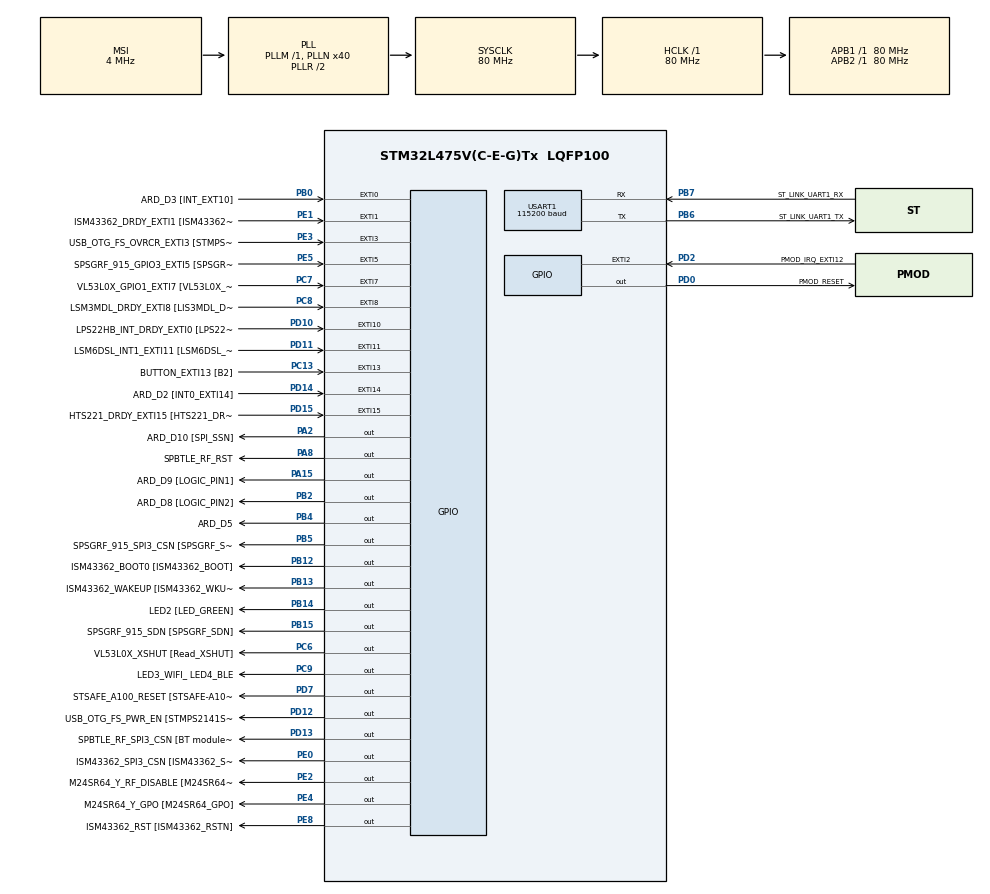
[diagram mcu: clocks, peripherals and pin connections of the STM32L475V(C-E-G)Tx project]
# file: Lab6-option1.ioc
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ADC1.Channel-0\#ChannelRegularConversion=ADC_CHANNEL_TEMPSENSOR
ADC1.ContinuousConvMode=DISABLE
ADC1.DMAContinuousRequests=ENABLE
ADC1.EOCSelection=ADC_EOC_SINGLE_CONV
ADC1.ExternalTrigConv=ADC_EXTERNALTRIG_T1_TRGO
ADC1.ExternalTrigConvEdge=ADC_EXTERNALTRIGCONVEDGE_RISING
ADC1.NbrOfConversionFlag=1
ADC1.OffsetNumber-0\#ChannelRegularConversion=ADC_OFFSET_NONE
ADC1.Rank-0\#ChannelRegularConversion=1
ADC1.SamplingTime-0\#ChannelRegularConversion=ADC_SAMPLETIME_640CYCLES_5
ADC1.master=1
Dma.ADC1.0.Direction=DMA_PERIPH_TO_MEMORY
Dma.ADC1.0.Instance=DMA1_Channel1
Dma.ADC1.0.MemDataAlignment=DMA_MDATAALIGN_HALFWORD
Dma.ADC1.0.MemInc=DMA_MINC_ENABLE
Dma.ADC1.0.Mode=DMA_CIRCULAR
Dma.ADC1.0.PeriphDataAlignment=DMA_PDATAALIGN_HALFWORD
Dma.ADC1.0.PeriphInc=DMA_PINC_DISABLE
Dma.ADC1.0.Priority=DMA_PRIORITY_HIGH
Dma.Request0=ADC1
FREERTOS.BinarySemaphores01=micSem,Dynamic,NULL
FREERTOS.Tasks01=defaultTask,24,512,StartDefaultTask,Default,NULL,Dynamic,NULL,NULL
Mcu.Family=STM32L4
Mcu.Name=STM32L475V(C-E-G)Tx
Mcu.Package=LQFP100
NVIC.ADC1_2_IRQn=true\:5\:0\:false\:false\:true\:true\:true\:true\:true
NVIC.DMA1_Channel1_IRQn=true\:5\:0\:false\:false\:true\:true\:false\:true\:true
NVIC.EXTI15_10_IRQn=true\:5\:0\:false\:false\:true\:true\:true\:true\:true
NVIC.EXTI9_5_IRQn=true\:5\:0\:false\:false\:true\:true\:true\:true\:true
NVIC.PriorityGroup=NVIC_PRIORITYGROUP_4
NVIC.TIM6_DAC_IRQn=true\:5\:0\:false\:false\:true\:false\:false\:true\:true
NVIC.TIM7_IRQn=true\:15\:0\:false\:false\:true\:false\:false\:true\:true
NVIC.TimeBase=TIM7_IRQn
NVIC.TimeBaseIP=TIM7
NVIC.USART1_IRQn=true\:5\:0\:false\:false\:true\:true\:true\:true\:true
PA0.GPIO_Label=ARD_D1 [UART4_TX]
PA0.Signal=UART4_TX
PA1.GPIO_Label=ARD_D0 [UART4_RX]
PA1.Signal=UART4_RX
PA10.GPIO_Label=USB_OTG_FS_ID
PA10.Signal=USB_OTG_FS_ID
PA11.GPIO_Label=USB_OTG_FS_DM
PA11.Signal=USB_OTG_FS_DM
PA12.GPIO_Label=USB_OTG_FS_DP
PA12.Signal=USB_OTG_FS_DP
PA13\ (JTMS-SWDIO).GPIO_Label=SYS_JTMS_SWDIO
PA13\ (JTMS-SWDIO).Mode=Serial_Wire
PA13\ (JTMS-SWDIO).Signal=SYS_JTMS-SWDIO
PA14\ (JTCK-SWCLK).GPIO_Label=SYS_JTCK_SWCLK
PA14\ (JTCK-SWCLK).Mode=Serial_Wire
PA14\ (JTCK-SWCLK).Signal=SYS_JTCK-SWCLK
PA15\ (JTDI).GPIO_Label=ARD_D9 [LOGIC_PIN1]
PA15\ (JTDI).Signal=GPIO_Output
PA2.GPIO_Label=ARD_D10 [SPI_SSN]
PA2.Signal=GPIO_Output
PA3.GPIO_Label=ARD_D4
PA3.Signal=S_TIM2_CH4
PA4.GPIO_Label=ARD_D7
PA4.Signal=ADCx_IN9
PA5.GPIO_Label=ARD_D13 [SPI1_SCK]
PA5.Signal=SPI1_SCK
PA6.GPIO_Label=ARD_D12 [SPI1_MISO]
PA6.Signal=SPI1_MISO
PA7.GPIO_Label=ARD_D11 [SPI1_MOSI]
PA7.Signal=SPI1_MOSI
PA8.GPIO_Label=SPBTLE_RF_RST
PA8.Signal=GPIO_Output
PA9.GPIO_Label=USB_OTG_FS_VBUS [STMPS2141STR_OUT]
PA9.Signal=USB_OTG_FS_VBUS
PB0.GPIO_Label=ARD_D3 [INT_EXT10]
PB0.Signal=GPXTI0
PB1.GPIO_Label=ARD_D6 [ADC1_IN6]
PB1.Signal=ADCx_IN16
PB10.GPIO_Label=INTERNAL_I2C2_SCL [VL53L0X_SCL]
PB10.Signal=I2C2_SCL
PB11.GPIO_Label=INTERNAL_I2C2_SDA [VL53L0X_SDA]
PB11.Signal=I2C2_SDA
PB12.GPIO_Label=ISM43362_BOOT0 [ISM43362_BOOT]
PB12.Signal=GPIO_Output
PB13.GPIO_Label=ISM43362_WAKEUP [ISM43362_WKUP]
PB13.Signal=GPIO_Output
PB14.GPIO_Label=LED2 [LED_GREEN]
PB14.Signal=GPIO_Output
PB15.GPIO_Label=SPSGRF_915_SDN [SPSGRF_SDN]
PB15.Signal=GPIO_Output
PB2.GPIO_Label=ARD_D8 [LOGIC_PIN2]
PB2.Signal=GPIO_Output
PB3\ (JTDO-TRACESWO).GPIO_Label=SYS_JTD0_SWO
PB3\ (JTDO-TRACESWO).Signal=SYS_JTDO-SWO
PB4\ (NJTRST).GPIO_Label=ARD_D5
PB4\ (NJTRST).Signal=GPIO_Output
PB5.GPIO_Label=SPSGRF_915_SPI3_CSN [SPSGRF_SPI_CS]
PB5.PinState=GPIO_PIN_SET
PB5.Signal=GPIO_Output
PB6.GPIO_Label=ST_LINK_UART1_TX
PB6.Mode=Asynchronous
PB6.Signal=USART1_TX
PB7.GPIO_Label=ST_LINK_UART1_RX
PB7.Mode=Asynchronous
PB7.Signal=USART1_RX
PB8.GPIO_Label=ARD_D15 [I2C1_SCL]
PB8.Signal=I2C1_SCL
PB9.GPIO_Label=ARD_D14 [I2C1_SDA]
PB9.Signal=I2C1_SDA
PC0.GPIO_Label=ARD_A5 [ADC]
PC0.Signal=ADCx_IN1
PC1.GPIO_Label=ARD_A4 [ADC]
PC1.Signal=ADCx_IN2
PC10.GPIO_Label=INTERNAL_SPI3_SCK [BT module_SPI_SCLK] [ISM43362_SCK]
PC10.Signal=SPI3_SCK
PC11.GPIO_Label=INTERNAL_SPI3_MISO [BT module_SPI_MISO] [ISM43362_MISO]
PC11.Signal=SPI3_MISO
PC12.GPIO_Label=INTERNAL_SPI3_MOSI [BT module_SPI_MOSI] [ISM43362_MOSI]
PC12.Signal=SPI3_MOSI
PC13.GPIO_Label=BUTTON_EXTI13 [B2]
PC13.GPIO_ModeDefaultEXTI=GPIO_MODE_IT_FALLING
PC13.Signal=GPXTI13
PC14-OSC32_IN\ (PC14).Mode=LSE-External-Oscillator
PC14-OSC32_IN\ (PC14).Signal=RCC_OSC32_IN
PC15-OSC32_OUT\ (PC15).Mode=LSE-External-Oscillator
PC15-OSC32_OUT\ (PC15).Signal=RCC_OSC32_OUT
PC2.GPIO_Label=ARD_A3 [ADC]
PC2.Signal=ADCx_IN3
PC3.GPIO_Label=ARD_A2 [ADC]
PC3.Signal=ADCx_IN4
PC4.GPIO_Label=ARD_A1 [ADC]
PC4.Signal=ADCx_IN13
PC5.GPIO_Label=ARD_A0 [ADC]
PC5.Signal=ADCx_IN14
PC6.GPIO_Label=VL53L0X_XSHUT [Read_XSHUT]
PC6.Signal=GPIO_Output
PC7.GPIO_Label=VL53L0X_GPIO1_EXTI7 [VL53L0X_GPIO1]
PC7.Signal=GPXTI7
PC8.GPIO_Label=LSM3MDL_DRDY_EXTI8 [LIS3MDL_DRDY]
PC8.Signal=GPXTI8
PC9.GPIO_Label=LED3_WIFI_ LED4_BLE
PC9.Signal=GPIO_Output
PD0.GPIO_Label=PMOD_RESET
PD0.Signal=GPIO_Output
PD1.GPIO_Label=PMOD_SPI2_SCK
PD1.Signal=SPI2_SCK
PD10.GPIO_Label=LPS22HB_INT_DRDY_EXTI0 [LPS22HB_INT_DRDY]
PD10.Signal=GPXTI10
PD11.GPIO_Label=LSM6DSL_INT1_EXTI11 [LSM6DSL_INT1]
PD11.Signal=GPXTI11
PD12.GPIO_Label=USB_OTG_FS_PWR_EN [STMPS2141STR_EN]
PD12.Signal=GPIO_Output
PD13.GPIO_Label=SPBTLE_RF_SPI3_CSN [BT module_SPI_CS]
PD13.PinState=GPIO_PIN_SET
PD13.Signal=GPIO_Output
PD14.GPIO_Label=ARD_D2 [INT0_EXTI14]
PD14.Signal=GPXTI14
PD15.GPIO_Label=HTS221_DRDY_EXTI15 [HTS221_DRDY]
PD15.Signal=GPXTI15
PD2.GPIO_Label=PMOD_IRQ_EXTI12
PD2.Signal=GPXTI2
PD3.GPIO_Label=PMOD_UART2_CTS
PD3.Signal=USART2_CTS
PD4.GPIO_Label=PMOD_UART2_RTS
PD4.Signal=USART2_RTS
PD5.GPIO_Label=PMOD_UART2_TX
PD5.Signal=USART2_TX
PD6.GPIO_Label=PMOD_UART2_RX
PD6.Signal=USART2_RX
PD7.GPIO_Label=STSAFE_A100_RESET [STSAFE-A100_RESET]
PD7.Signal=GPIO_Output
PD8.GPIO_Label=INTERNAL_UART3_TX [ISM43362_RX]
PD8.Signal=USART3_TX
PD9.GPIO_Label=INTERNAL_UART3_RX [ISM43362_TX]
PD9.Signal=USART3_RX
PE0.GPIO_Label=ISM43362_SPI3_CSN [ISM43362_SSN]
PE0.PinState=GPIO_PIN_SET
PE0.Signal=GPIO_Output
PE1.GPIO_Label=ISM43362_DRDY_EXTI1 [ISM43362_DATARDY]
PE1.Signal=GPXTI1
PE10.GPIO_Label=QUADSPI_CLK [MX25R6435F_SCLK]
PE10.Signal=QUADSPI_CLK
PE11.GPIO_Label=QUADSPI_NCS [MX25R6435F_SCLK]
PE11.Signal=QUADSPI_NCS
PE12.GPIO_Label=OQUADSPI_BK1_IO0 [MX25R6435F_IO0]
PE12.Signal=QUADSPI_BK1_IO0
PE13.GPIO_Label=QUADSPI_BK1_IO1 [MX25R6435F_IO1]
PE13.Signal=QUADSPI_BK1_IO1
PE14.GPIO_Label=QUAD_SPI_BK1_IO2 [MX25R6435F_IO2]
PE14.Signal=QUADSPI_BK1_IO2
PE15.GPIO_Label=QUAD_SPI_BK1_IO3 [MX25R6435F_IO3]
PE15.Signal=QUADSPI_BK1_IO3
PE2.GPIO_Label=M24SR64_Y_RF_DISABLE [M24SR64_RFDIS]
PE2.Signal=GPIO_Output
PE3.GPIO_Label=USB_OTG_FS_OVRCR_EXTI3 [STMPS2141STR_FAULT]
PE3.Signal=GPXTI3
PE4.GPIO_Label=M24SR64_Y_GPO [M24SR64_GPO]
PE4.Signal=GPIO_Output
PE5.GPIO_Label=SPSGRF_915_GPIO3_EXTI5 [SPSGRF_GPIO_3]
PE5.Signal=GPXTI5
PE7.GPIO_Label=DFSDM1_DATIN2 [MP34DT01_DOUT]
PE7.Signal=S_DATAIN2DFSDM1
PE8.GPIO_Label=ISM43362_RST [ISM43362_RSTN]
PE8.Signal=GPIO_Output
PE9.GPIO_Label=DFSDM1_CKOUT [MP34DT01_CLK]
PE9.Signal=S_CKOUTDFSDM1
PH0-OSC_IN\ (PH0).Mode=HSE-External-Oscillator
PH0-OSC_IN\ (PH0).Signal=RCC_OSC_IN
PH1-OSC_OUT\ (PH1).Mode=HSE-External-Oscillator
PH1-OSC_OUT\ (PH1).Signal=RCC_OSC_OUT
ProjectManager.HeapSize=0x200
ProjectManager.StackSize=0x400
ProjectManager.TargetToolchain=CMake
RCC.ADCFreq_Value=48000000
RCC.AHBFreq_Value=80000000
RCC.APB1Freq_Value=80000000
RCC.APB1TimFreq_Value=80000000
RCC.APB2Freq_Value=80000000
RCC.APB2TimFreq_Value=80000000
RCC.CortexFreq_Value=80000000
RCC.HCLKFreq_Value=80000000
RCC.HSE_VALUE=8000000
RCC.HSI_VALUE=16000000
RCC.MSI_VALUE=4000000
RCC.PLLN=40
RCC.PLLSAI1N=24
RCC.SYSCLKFreq_VALUE=80000000
RCC.SYSCLKSource=RCC_SYSCLKSOURCE_PLLCLK
RCC.USBFreq_Value=48000000
RCC.VCOOutputFreq_Value=160000000
SH.ADCx_IN1.0=ADC1_IN1
SH.ADCx_IN13.0=ADC1_IN13
SH.ADCx_IN14.0=ADC1_IN14
SH.ADCx_IN16.0=ADC1_IN16
SH.ADCx_IN2.0=ADC1_IN2
SH.ADCx_IN3.0=ADC1_IN3
SH.ADCx_IN4.0=ADC1_IN4
SH.ADCx_IN9.0=ADC1_IN9
SH.S_CKOUTDFSDM1.0=DFSDM1_CKOUT
SH.S_DATAIN2DFSDM1.0=DFSDM1_DATIN2
SH.S_TIM2_CH4.0=TIM2_CH4
TIM1.AutoReloadPreload=TIM_AUTORELOAD_PRELOAD_ENABLE
TIM1.Period=10000-1
TIM1.Prescaler=80-1
TIM1.TIM_MasterOutputTrigger=TIM_TRGO_UPDATE
TIM2.Period=1000000-1
TIM2.Prescaler=80-1
TIM2.TIM_MasterOutputTrigger=TIM_TRGO_UPDATE
USART1.BaudRate=115200
USART1.VirtualMode-Asynchronous=VM_ASYNC
VP_ADC1_TempSens_Input.Mode=IN-TempSens
VP_FREERTOS_VS_CMSIS_V2.Mode=CMSIS_V2
VP_SYS_VS_tim7.Mode=TIM7
VP_TIM1_VS_ClockSourceINT.Mode=Internal
VP_TIM2_VS_ClockSourceINT.Mode=Internal
VP_TIM6_VS_ClockSourceINT.Mode=Enable_Timer
board=B-L475E-IOT01A1

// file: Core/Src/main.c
/* USER CODE BEGIN Header */
/**
  ******************************************************************************
  * @file           : main.c
  * @brief          : Main program body
  ******************************************************************************
  * @attention
  *
  * Copyright (c) 2026 STMicroelectronics.
  * All rights reserved.
  *
  * This software is licensed under terms that can be found in the LICENSE file
  * in the root directory of this software component.
  * If no LICENSE file comes with this software, it is provided AS-IS.
  *
  ******************************************************************************
  */
/* USER CODE END Header */
#include "main.h"
#include "cmsis_os.h"

/* USER CODE BEGIN Includes */
#include "latency.h"
/* USER CODE END Includes */

ADC_HandleTypeDef hadc1;
DMA_HandleTypeDef hdma_adc1;

TIM_HandleTypeDef htim1;
TIM_HandleTypeDef htim2;
TIM_HandleTypeDef htim6;

UART_HandleTypeDef huart1;

#define SAMPLE_BUFFER_SIZE    16U
uint16_t sample_buffer[SAMPLE_BUFFER_SIZE];

/* Definitions for defaultTask */
osThreadId_t defaultTaskHandle;
const osThreadAttr_t defaultTask_attributes = {
  .name = "defaultTask",
  .stack_size = 512 * 4,
  .priority = (osPriority_t) osPriorityNormal,
};
/* Definitions for micSem */
osSemaphoreId_t micSemHandle;
const osSemaphoreAttr_t micSem_attributes = {
  .name = "micSem"
};

void SystemClock_Config(void);
static void MX_GPIO_Init(void);
static void MX_DMA_Init(void);
static void MX_ADC1_Init(void);
static void MX_TIM1_Init(void);
static void MX_TIM2_Init(void);
static void MX_USART1_UART_Init(void);
static void MX_TIM6_Init(void);
void StartDefaultTask(void *argument);

int main(void)
{

  /* MCU Configuration--------------------------------------------------------*/

  /* Reset of all peripherals, Initializes the Flash interface and the Systick. */
  HAL_Init();

  /* Configure the system clock */
  SystemClock_Config();

  /* Initialize all configured peripherals */
  MX_GPIO_Init();
  MX_DMA_Init();
  MX_ADC1_Init();
  MX_TIM1_Init();
  MX_TIM2_Init();
  MX_USART1_UART_Init();
  MX_TIM6_Init();

  /* Init scheduler */
  osKernelInitialize();

  /* Create the semaphores(s) */
  /* creation of micSem */
  micSemHandle = osSemaphoreNew(1, 0, &micSem_attributes);

  /* Create the thread(s) */
  /* creation of defaultTask */
  defaultTaskHandle = osThreadNew(StartDefaultTask, NULL, &defaultTask_attributes);

  /* Start scheduler */
  osKernelStart();

  /* We should never get here as control is now taken by the scheduler */

  /* Infinite loop */
  while (1)
  {

  }
}

void SystemClock_Config(void)
{
  RCC_OscInitTypeDef RCC_OscInitStruct = {0};
  RCC_ClkInitTypeDef RCC_ClkInitStruct = {0};

  /** Configure the main internal regulator output voltage
  */
  if (HAL_PWREx_ControlVoltageScaling(PWR_REGULATOR_VOLTAGE_SCALE1) != HAL_OK)
  {
    Error_Handler();
  }

  /** Configure LSE Drive Capability
  */
  HAL_PWR_EnableBkUpAccess();
  __HAL_RCC_LSEDRIVE_CONFIG(RCC_LSEDRIVE_LOW);

  /** Initializes the RCC Oscillators according to the specified parameters
  * in the RCC_OscInitTypeDef structure.
  */
  RCC_OscInitStruct.OscillatorType = RCC_OSCILLATORTYPE_LSE|RCC_OSCILLATORTYPE_MSI;
  RCC_OscInitStruct.LSEState = RCC_LSE_ON;
  RCC_OscInitStruct.MSIState = RCC_MSI_ON;
  RCC_OscInitStruct.MSICalibrationValue = 0;
  RCC_OscInitStruct.MSIClockRange = RCC_MSIRANGE_6;
  RCC_OscInitStruct.PLL.PLLState = RCC_PLL_ON;
  RCC_OscInitStruct.PLL.PLLSource = RCC_PLLSOURCE_MSI;
  RCC_OscInitStruct.PLL.PLLM = 1;
  RCC_OscInitStruct.PLL.PLLN = 40;
  RCC_OscInitStruct.PLL.PLLP = RCC_PLLP_DIV7;
  RCC_OscInitStruct.PLL.PLLQ = RCC_PLLQ_DIV2;
  RCC_OscInitStruct.PLL.PLLR = RCC_PLLR_DIV2;
  if (HAL_RCC_OscConfig(&RCC_OscInitStruct) != HAL_OK)
  {
    Error_Handler();
  }

  /** Initializes the CPU, AHB and APB buses clocks
  */
  RCC_ClkInitStruct.ClockType = RCC_CLOCKTYPE_HCLK|RCC_CLOCKTYPE_SYSCLK
                              |RCC_CLOCKTYPE_PCLK1|RCC_CLOCKTYPE_PCLK2;
  RCC_ClkInitStruct.SYSCLKSource = RCC_SYSCLKSOURCE_PLLCLK;
  RCC_ClkInitStruct.AHBCLKDivider = RCC_SYSCLK_DIV1;
  RCC_ClkInitStruct.APB1CLKDivider = RCC_HCLK_DIV1;
  RCC_ClkInitStruct.APB2CLKDivider = RCC_HCLK_DIV1;

  if (HAL_RCC_ClockConfig(&RCC_ClkInitStruct, FLASH_LATENCY_4) != HAL_OK)
  {
    Error_Handler();
  }

  /** Enable MSI Auto calibration
  */
  HAL_RCCEx_EnableMSIPLLMode();
}

static void MX_ADC1_Init(void)
{

  ADC_MultiModeTypeDef multimode = {0};
  ADC_ChannelConfTypeDef sConfig = {0};

  /** Common config
  */
  hadc1.Instance = ADC1;
  hadc1.Init.ClockPrescaler = ADC_CLOCK_ASYNC_DIV1;
  hadc1.Init.Resolution = ADC_RESOLUTION_12B;
  hadc1.Init.DataAlign = ADC_DATAALIGN_RIGHT;
  hadc1.Init.ScanConvMode = ADC_SCAN_DISABLE;
  hadc1.Init.EOCSelection = ADC_EOC_SINGLE_CONV;
  hadc1.Init.LowPowerAutoWait = DISABLE;
  hadc1.Init.ContinuousConvMode = DISABLE;
  hadc1.Init.NbrOfConversion = 1;
  hadc1.Init.DiscontinuousConvMode = DISABLE;
  hadc1.Init.ExternalTrigConv = ADC_EXTERNALTRIG_T1_TRGO;
  hadc1.Init.ExternalTrigConvEdge = ADC_EXTERNALTRIGCONVEDGE_RISING;
  hadc1.Init.DMAContinuousRequests = ENABLE;
  hadc1.Init.Overrun = ADC_OVR_DATA_PRESERVED;
  hadc1.Init.OversamplingMode = DISABLE;
  if (HAL_ADC_Init(&hadc1) != HAL_OK)
  {
    Error_Handler();
  }

  /** Configure the ADC multi-mode
  */
  multimode.Mode = ADC_MODE_INDEPENDENT;
  if (HAL_ADCEx_MultiModeConfigChannel(&hadc1, &multimode) != HAL_OK)
  {
    Error_Handler();
  }

  /** Configure Regular Channel
  */
  sConfig.Channel = ADC_CHANNEL_TEMPSENSOR;
  sConfig.Rank = ADC_REGULAR_RANK_1;
  sConfig.SamplingTime = ADC_SAMPLETIME_640CYCLES_5;
  sConfig.SingleDiff = ADC_SINGLE_ENDED;
  sConfig.OffsetNumber = ADC_OFFSET_NONE;
  sConfig.Offset = 0;
  if (HAL_ADC_ConfigChannel(&hadc1, &sConfig) != HAL_OK)
  {
    Error_Handler();
  }

}

static void MX_TIM1_Init(void)
{

  TIM_ClockConfigTypeDef sClockSourceConfig = {0};
  TIM_MasterConfigTypeDef sMasterConfig = {0};

  htim1.Instance = TIM1;
  htim1.Init.Prescaler = 80-1;
  htim1.Init.CounterMode = TIM_COUNTERMODE_UP;
  htim1.Init.Period = 10000-1;
  htim1.Init.ClockDivision = TIM_CLOCKDIVISION_DIV1;
  htim1.Init.RepetitionCounter = 0;
  htim1.Init.AutoReloadPreload = TIM_AUTORELOAD_PRELOAD_ENABLE;
  if (HAL_TIM_Base_Init(&htim1) != HAL_OK)
  {
    Error_Handler();
  }
  sClockSourceConfig.ClockSource = TIM_CLOCKSOURCE_INTERNAL;
  if (HAL_TIM_ConfigClockSource(&htim1, &sClockSourceConfig) != HAL_OK)
  {
    Error_Handler();
  }
  sMasterConfig.MasterOutputTrigger = TIM_TRGO_UPDATE;
  sMasterConfig.MasterOutputTrigger2 = TIM_TRGO2_RESET;
  sMasterConfig.MasterSlaveMode = TIM_MASTERSLAVEMODE_DISABLE;
  if (HAL_TIMEx_MasterConfigSynchronization(&htim1, &sMasterConfig) != HAL_OK)
  {
    Error_Handler();
  }

}

static void MX_TIM2_Init(void)
{

  TIM_ClockConfigTypeDef sClockSourceConfig = {0};
  TIM_MasterConfigTypeDef sMasterConfig = {0};

  htim2.Instance = TIM2;
  htim2.Init.Prescaler = 80-1;
  htim2.Init.CounterMode = TIM_COUNTERMODE_UP;
  htim2.Init.Period = 1000000-1;
  htim2.Init.ClockDivision = TIM_CLOCKDIVISION_DIV1;
  htim2.Init.AutoReloadPreload = TIM_AUTORELOAD_PRELOAD_DISABLE;
  if (HAL_TIM_Base_Init(&htim2) != HAL_OK)
  {
    Error_Handler();
  }
  sClockSourceConfig.ClockSource = TIM_CLOCKSOURCE_INTERNAL;
  if (HAL_TIM_ConfigClockSource(&htim2, &sClockSourceConfig) != HAL_OK)
  {
    Error_Handler();
  }
  sMasterConfig.MasterOutputTrigger = TIM_TRGO_UPDATE;
  sMasterConfig.MasterSlaveMode = TIM_MASTERSLAVEMODE_DISABLE;
  if (HAL_TIMEx_MasterConfigSynchronization(&htim2, &sMasterConfig) != HAL_OK)
  {
    Error_Handler();
  }

}

static void MX_TIM6_Init(void)
{

  TIM_MasterConfigTypeDef sMasterConfig = {0};

  htim6.Instance = TIM6;
  htim6.Init.Prescaler = 0;
  htim6.Init.CounterMode = TIM_COUNTERMODE_UP;
  htim6.Init.Period = 65535;
  htim6.Init.AutoReloadPreload = TIM_AUTORELOAD_PRELOAD_DISABLE;
  if (HAL_TIM_Base_Init(&htim6) != HAL_OK)
  {
    Error_Handler();
  }
  sMasterConfig.MasterOutputTrigger = TIM_TRGO_RESET;
  sMasterConfig.MasterSlaveMode = TIM_MASTERSLAVEMODE_DISABLE;
  if (HAL_TIMEx_MasterConfigSynchronization(&htim6, &sMasterConfig) != HAL_OK)
  {
    Error_Handler();
  }

}

static void MX_USART1_UART_Init(void)
{

  huart1.Instance = USART1;
  huart1.Init.BaudRate = 115200;
  huart1.Init.WordLength = UART_WORDLENGTH_8B;
  huart1.Init.StopBits = UART_STOPBITS_1;
  huart1.Init.Parity = UART_PARITY_NONE;
  huart1.Init.Mode = UART_MODE_TX_RX;
  huart1.Init.HwFlowCtl = UART_HWCONTROL_NONE;
  huart1.Init.OverSampling = UART_OVERSAMPLING_16;
  huart1.Init.OneBitSampling = UART_ONE_BIT_SAMPLE_DISABLE;
  huart1.AdvancedInit.AdvFeatureInit = UART_ADVFEATURE_NO_INIT;
  if (HAL_UART_Init(&huart1) != HAL_OK)
  {
    Error_Handler();
  }

}

static void MX_DMA_Init(void)
{

  /* DMA controller clock enable */
  __HAL_RCC_DMA1_CLK_ENABLE();

  /* DMA interrupt init */
  /* DMA1_Channel1_IRQn interrupt configuration */
  HAL_NVIC_SetPriority(DMA1_Channel1_IRQn, 5, 0);
  HAL_NVIC_EnableIRQ(DMA1_Channel1_IRQn);
  /* DMA1_Channel4_IRQn interrupt configuration */
  NVIC_SetPriority(DMA1_Channel4_IRQn, NVIC_EncodePriority(NVIC_GetPriorityGrouping(),5, 0));
  NVIC_EnableIRQ(DMA1_Channel4_IRQn);

}

static void MX_GPIO_Init(void)
{
  GPIO_InitTypeDef GPIO_InitStruct = {0};

  /* GPIO Ports Clock Enable */
  __HAL_RCC_GPIOE_CLK_ENABLE();
  __HAL_RCC_GPIOC_CLK_ENABLE();
  __HAL_RCC_GPIOH_CLK_ENABLE();
  __HAL_RCC_GPIOA_CLK_ENABLE();
  __HAL_RCC_GPIOB_CLK_ENABLE();
  __HAL_RCC_GPIOD_CLK_ENABLE();

  /*Configure GPIO pin Output Level */
  HAL_GPIO_WritePin(GPIOE, M24SR64_Y_RF_DISABLE_Pin|M24SR64_Y_GPO_Pin|ISM43362_RST_Pin, GPIO_PIN_RESET);

  /*Configure GPIO pin Output Level */
  HAL_GPIO_WritePin(GPIOA, ARD_D10_Pin|SPBTLE_RF_RST_Pin|ARD_D9_Pin, GPIO_PIN_RESET);

  /*Configure GPIO pin Output Level */
  HAL_GPIO_WritePin(GPIOB, ARD_D8_Pin|ISM43362_BOOT0_Pin|ISM43362_WAKEUP_Pin|LED2_Pin
                          |SPSGRF_915_SDN_Pin|ARD_D5_Pin, GPIO_PIN_RESET);

  /*Configure GPIO pin Output Level */
  HAL_GPIO_WritePin(GPIOD, USB_OTG_FS_PWR_EN_Pin|PMOD_RESET_Pin|STSAFE_A100_RESET_Pin, GPIO_PIN_RESET);

  /*Configure GPIO pin Output Level */
  HAL_GPIO_WritePin(SPBTLE_RF_SPI3_CSN_GPIO_Port, SPBTLE_RF_SPI3_CSN_Pin, GPIO_PIN_SET);

  /*Configure GPIO pin Output Level */
  HAL_GPIO_WritePin(GPIOC, VL53L0X_XSHUT_Pin|LED3_WIFI__LED4_BLE_Pin, GPIO_PIN_RESET);

  /*Configure GPIO pin Output Level */
  HAL_GPIO_WritePin(SPSGRF_915_SPI3_CSN_GPIO_Port, SPSGRF_915_SPI3_CSN_Pin, GPIO_PIN_SET);

  /*Configure GPIO pin Output Level */
  HAL_GPIO_WritePin(ISM43362_SPI3_CSN_GPIO_Port, ISM43362_SPI3_CSN_Pin, GPIO_PIN_SET);

  /*Configure GPIO pins : M24SR64_Y_RF_DISABLE_Pin M24SR64_Y_GPO_Pin ISM43362_RST_Pin ISM43362_SPI3_CSN_Pin */
  GPIO_InitStruct.Pin = M24SR64_Y_RF_DISABLE_Pin|M24SR64_Y_GPO_Pin|ISM43362_RST_Pin|ISM43362_SPI3_CSN_Pin;
  GPIO_InitStruct.Mode = GPIO_MODE_OUTPUT_PP;
  GPIO_InitStruct.Pull = GPIO_NOPULL;
  GPIO_InitStruct.Speed = GPIO_SPEED_FREQ_LOW;
  HAL_GPIO_Init(GPIOE, &GPIO_InitStruct);

  /*Configure GPIO pins : USB_OTG_FS_OVRCR_EXTI3_Pin SPSGRF_915_GPIO3_EXTI5_Pin ISM43362_DRDY_EXTI1_Pin */
  GPIO_InitStruct.Pin = USB_OTG_FS_OVRCR_EXTI3_Pin|SPSGRF_915_GPIO3_EXTI5_Pin|ISM43362_DRDY_EXTI1_Pin;
  GPIO_InitStruct.Mode = GPIO_MODE_IT_RISING;
  GPIO_InitStruct.Pull = GPIO_NOPULL;
  HAL_GPIO_Init(GPIOE, &GPIO_InitStruct);

  /*Configure GPIO pin : BUTTON_EXTI13_Pin */
  GPIO_InitStruct.Pin = BUTTON_EXTI13_Pin;
  GPIO_InitStruct.Mode = GPIO_MODE_IT_FALLING;
  GPIO_InitStruct.Pull = GPIO_NOPULL;
  HAL_GPIO_Init(BUTTON_EXTI13_GPIO_Port, &GPIO_InitStruct);

  /*Configure GPIO pins : ARD_D1_Pin ARD_D0_Pin */
  GPIO_InitStruct.Pin = ARD_D1_Pin|ARD_D0_Pin;
  GPIO_InitStruct.Mode = GPIO_MODE_AF_PP;
  GPIO_InitStruct.Pull = GPIO_NOPULL;
  GPIO_InitStruct.Speed = GPIO_SPEED_FREQ_VERY_HIGH;
  GPIO_InitStruct.Alternate = GPIO_AF8_UART4;
  HAL_GPIO_Init(GPIOA, &GPIO_InitStruct);

  /*Configure GPIO pins : ARD_D10_Pin SPBTLE_RF_RST_Pin ARD_D9_Pin */
  GPIO_InitStruct.Pin = ARD_D10_Pin|SPBTLE_RF_RST_Pin|ARD_D9_Pin;
  GPIO_InitStruct.Mode = GPIO_MODE_OUTPUT_PP;
  GPIO_InitStruct.Pull = GPIO_NOPULL;
  GPIO_InitStruct.Speed = GPIO_SPEED_FREQ_LOW;
  HAL_GPIO_Init(GPIOA, &GPIO_InitStruct);

  /*Configure GPIO pins : ARD_D13_Pin ARD_D12_Pin ARD_D11_Pin */
  GPIO_InitStruct.Pin = ARD_D13_Pin|ARD_D12_Pin|ARD_D11_Pin;
  GPIO_InitStruct.Mode = GPIO_MODE_AF_PP;
  GPIO_InitStruct.Pull = GPIO_NOPULL;
  GPIO_InitStruct.Speed = GPIO_SPEED_FREQ_VERY_HIGH;
  GPIO_InitStruct.Alternate = GPIO_AF5_SPI1;
  HAL_GPIO_Init(GPIOA, &GPIO_InitStruct);

  /*Configure GPIO pin : ARD_D3_Pin */
  GPIO_InitStruct.Pin = ARD_D3_Pin;
  GPIO_InitStruct.Mode = GPIO_MODE_IT_RISING;
  GPIO_InitStruct.Pull = GPIO_NOPULL;
  HAL_GPIO_Init(ARD_D3_GPIO_Port, &GPIO_InitStruct);

  /*Configure GPIO pins : ARD_D8_Pin ISM43362_BOOT0_Pin ISM43362_WAKEUP_Pin LED2_Pin
                           SPSGRF_915_SDN_Pin ARD_D5_Pin SPSGRF_915_SPI3_CSN_Pin */
  GPIO_InitStruct.Pin = ARD_D8_Pin|ISM43362_BOOT0_Pin|ISM43362_WAKEUP_Pin|LED2_Pin
                          |SPSGRF_915_SDN_Pin|ARD_D5_Pin|SPSGRF_915_SPI3_CSN_Pin;
  GPIO_InitStruct.Mode = GPIO_MODE_OUTPUT_PP;
  GPIO_InitStruct.Pull = GPIO_NOPULL;
  GPIO_InitStruct.Speed = GPIO_SPEED_FREQ_LOW;
  HAL_GPIO_Init(GPIOB, &GPIO_InitStruct);

  /*Configure GPIO pins : DFSDM1_DATIN2_Pin DFSDM1_CKOUT_Pin */
  GPIO_InitStruct.Pin = DFSDM1_DATIN2_Pin|DFSDM1_CKOUT_Pin;
  GPIO_InitStruct.Mode = GPIO_MODE_AF_PP;
  GPIO_InitStruct.Pull = GPIO_NOPULL;
  GPIO_InitStruct.Speed = GPIO_SPEED_FREQ_LOW;
  GPIO_InitStruct.Alternate = GPIO_AF6_DFSDM1;
  HAL_GPIO_Init(GPIOE, &GPIO_InitStruct);

  /*Configure GPIO pins : QUADSPI_CLK_Pin QUADSPI_NCS_Pin OQUADSPI_BK1_IO0_Pin QUADSPI_BK1_IO1_Pin
                           QUAD_SPI_BK1_IO2_Pin QUAD_SPI_BK1_IO3_Pin */
  GPIO_InitStruct.Pin = QUADSPI_CLK_Pin|QUADSPI_NCS_Pin|OQUADSPI_BK1_IO0_Pin|QUADSPI_BK1_IO1_Pin
                          |QUAD_SPI_BK1_IO2_Pin|QUAD_SPI_BK1_IO3_Pin;
  GPIO_InitStruct.Mode = GPIO_MODE_AF_PP;
  GPIO_InitStruct.Pull = GPIO_NOPULL;
  GPIO_InitStruct.Speed = GPIO_SPEED_FREQ_VERY_HIGH;
  GPIO_InitStruct.Alternate = GPIO_AF10_QUADSPI;
  HAL_GPIO_Init(GPIOE, &GPIO_InitStruct);

  /*Configure GPIO pins : INTERNAL_I2C2_SCL_Pin INTERNAL_I2C2_SDA_Pin */
  GPIO_InitStruct.Pin = INTERNAL_I2C2_SCL_Pin|INTERNAL_I2C2_SDA_Pin;
  GPIO_InitStruct.Mode = GPIO_MODE_AF_OD;
  GPIO_InitStruct.Pull = GPIO_NOPULL;
  GPIO_InitStruct.Speed = GPIO_SPEED_FREQ_VERY_HIGH;
  GPIO_InitStruct.Alternate = GPIO_AF4_I2C2;
  HAL_GPIO_Init(GPIOB, &GPIO_InitStruct);

  /*Configure GPIO pins : INTERNAL_UART3_TX_Pin INTERNAL_UART3_RX_Pin */
  GPIO_InitStruct.Pin = INTERNAL_UART3_TX_Pin|INTERNAL_UART3_RX_Pin;
  GPIO_InitStruct.Mode = GPIO_MODE_AF_PP;
  GPIO_InitStruct.Pull = GPIO_NOPULL;
  GPIO_InitStruct.Speed = GPIO_SPEED_FREQ_VERY_HIGH;
  GPIO_InitStruct.Alternate = GPIO_AF7_USART3;
  HAL_GPIO_Init(GPIOD, &GPIO_InitStruct);

  /*Configure GPIO pins : LPS22HB_INT_DRDY_EXTI0_Pin LSM6DSL_INT1_EXTI11_Pin ARD_D2_Pin HTS221_DRDY_EXTI15_Pin
                           PMOD_IRQ_EXTI12_Pin */
  GPIO_InitStruct.Pin = LPS22HB_INT_DRDY_EXTI0_Pin|LSM6DSL_INT1_EXTI11_Pin|ARD_D2_Pin|HTS221_DRDY_EXTI15_Pin
                          |PMOD_IRQ_EXTI12_Pin;
  GPIO_InitStruct.Mode = GPIO_MODE_IT_RISING;
  GPIO_InitStruct.Pull = GPIO_NOPULL;
  HAL_GPIO_Init(GPIOD, &GPIO_InitStruct);

  /*Configure GPIO pins : USB_OTG_FS_PWR_EN_Pin SPBTLE_RF_SPI3_CSN_Pin PMOD_RESET_Pin STSAFE_A100_RESET_Pin */
  GPIO_InitStruct.Pin = USB_OTG_FS_PWR_EN_Pin|SPBTLE_RF_SPI3_CSN_Pin|PMOD_RESET_Pin|STSAFE_A100_RESET_Pin;
  GPIO_InitStruct.Mode = GPIO_MODE_OUTPUT_PP;
  GPIO_InitStruct.Pull = GPIO_NOPULL;
  GPIO_InitStruct.Speed = GPIO_SPEED_FREQ_LOW;
  HAL_GPIO_Init(GPIOD, &GPIO_InitStruct);

  /*Configure GPIO pins : VL53L0X_XSHUT_Pin LED3_WIFI__LED4_BLE_Pin */
  GPIO_InitStruct.Pin = VL53L0X_XSHUT_Pin|LED3_WIFI__LED4_BLE_Pin;
  GPIO_InitStruct.Mode = GPIO_MODE_OUTPUT_PP;
  GPIO_InitStruct.Pull = GPIO_NOPULL;
  GPIO_InitStruct.Speed = GPIO_SPEED_FREQ_LOW;
  HAL_GPIO_Init(GPIOC, &GPIO_InitStruct);

  /*Configure GPIO pins : VL53L0X_GPIO1_EXTI7_Pin LSM3MDL_DRDY_EXTI8_Pin */
  GPIO_InitStruct.Pin = VL53L0X_GPIO1_EXTI7_Pin|LSM3MDL_DRDY_EXTI8_Pin;
  GPIO_InitStruct.Mode = GPIO_MODE_IT_RISING;
  GPIO_InitStruct.Pull = GPIO_NOPULL;
  HAL_GPIO_Init(GPIOC, &GPIO_InitStruct);

  /*Configure GPIO pin : USB_OTG_FS_VBUS_Pin */
  GPIO_InitStruct.Pin = USB_OTG_FS_VBUS_Pin;
  GPIO_InitStruct.Mode = GPIO_MODE_INPUT;
  GPIO_InitStruct.Pull = GPIO_NOPULL;
  HAL_GPIO_Init(USB_OTG_FS_VBUS_GPIO_Port, &GPIO_InitStruct);

  /*Configure GPIO pins : USB_OTG_FS_ID_Pin USB_OTG_FS_DM_Pin USB_OTG_FS_DP_Pin */
  GPIO_InitStruct.Pin = USB_OTG_FS_ID_Pin|USB_OTG_FS_DM_Pin|USB_OTG_FS_DP_Pin;
  GPIO_InitStruct.Mode = GPIO_MODE_AF_PP;
  GPIO_InitStruct.Pull = GPIO_NOPULL;
  GPIO_InitStruct.Speed = GPIO_SPEED_FREQ_VERY_HIGH;
  GPIO_InitStruct.Alternate = GPIO_AF10_OTG_FS;
  HAL_GPIO_Init(GPIOA, &GPIO_InitStruct);

  /*Configure GPIO pins : INTERNAL_SPI3_SCK_Pin INTERNAL_SPI3_MISO_Pin INTERNAL_SPI3_MOSI_Pin */
  GPIO_InitStruct.Pin = INTERNAL_SPI3_SCK_Pin|INTERNAL_SPI3_MISO_Pin|INTERNAL_SPI3_MOSI_Pin;
  GPIO_InitStruct.Mode = GPIO_MODE_AF_PP;
  GPIO_InitStruct.Pull = GPIO_NOPULL;
  GPIO_InitStruct.Speed = GPIO_SPEED_FREQ_VERY_HIGH;
  GPIO_InitStruct.Alternate = GPIO_AF6_SPI3;
  HAL_GPIO_Init(GPIOC, &GPIO_InitStruct);

  /*Configure GPIO pin : PMOD_SPI2_SCK_Pin */
  GPIO_InitStruct.Pin = PMOD_SPI2_SCK_Pin;
  GPIO_InitStruct.Mode = GPIO_MODE_AF_PP;
  GPIO_InitStruct.Pull = GPIO_NOPULL;
  GPIO_InitStruct.Speed = GPIO_SPEED_FREQ_VERY_HIGH;
  GPIO_InitStruct.Alternate = GPIO_AF5_SPI2;
  HAL_GPIO_Init(PMOD_SPI2_SCK_GPIO_Port, &GPIO_InitStruct);

  /*Configure GPIO pins : PMOD_UART2_CTS_Pin PMOD_UART2_RTS_Pin PMOD_UART2_TX_Pin PMOD_UART2_RX_Pin */
  GPIO_InitStruct.Pin = PMOD_UART2_CTS_Pin|PMOD_UART2_RTS_Pin|PMOD_UART2_TX_Pin|PMOD_UART2_RX_Pin;
  GPIO_InitStruct.Mode = GPIO_MODE_AF_PP;
  GPIO_InitStruct.Pull = GPIO_NOPULL;
  GPIO_InitStruct.Speed = GPIO_SPEED_FREQ_VERY_HIGH;
  GPIO_InitStruct.Alternate = GPIO_AF7_USART2;
  HAL_GPIO_Init(GPIOD, &GPIO_InitStruct);

  /*Configure GPIO pins : ARD_D15_Pin ARD_D14_Pin */
  GPIO_InitStruct.Pin = ARD_D15_Pin|ARD_D14_Pin;
  GPIO_InitStruct.Mode = GPIO_MODE_AF_OD;
  GPIO_InitStruct.Pull = GPIO_NOPULL;
  GPIO_InitStruct.Speed = GPIO_SPEED_FREQ_VERY_HIGH;
  GPIO_InitStruct.Alternate = GPIO_AF4_I2C1;
  HAL_GPIO_Init(GPIOB, &GPIO_InitStruct);

  /* EXTI interrupt init*/
  HAL_NVIC_SetPriority(EXTI9_5_IRQn, 5, 0);
  HAL_NVIC_EnableIRQ(EXTI9_5_IRQn);

  HAL_NVIC_SetPriority(EXTI15_10_IRQn, 5, 0);
  HAL_NVIC_EnableIRQ(EXTI15_10_IRQn);

}

void vTempTask(void *argument)
{
  for (;;) {
      osSemaphoreAcquire(micSemHandle, osWaitForever);

      // Record task start time
      uint32_t task_start_tick = xTaskGetTickCount();
      latency_record_task_start(task_start_tick);

      // Dummy processing (temperature reading would go here)
      osDelay(1);
  }
}

void StartDefaultTask(void *argument)
{
  /* USER CODE BEGIN 5 */

  // Initialize latency measurement
  latency_init();

  // Create temperature reading task
  const osThreadAttr_t tempTask_attributes = {
      .name = "TempTask",
      .priority = osPriorityAboveNormal,
      .stack_size = 256 * 4
  };
  osThreadNew(vTempTask, NULL, &tempTask_attributes);

  // Create load task with low priority
  const osThreadAttr_t loadTask_attributes = {
      .name = "LoadTask",
      .priority = osPriorityLow,
      .stack_size = 128 * 4
  };
  osThreadNew(vLoadTask, NULL, &loadTask_attributes);

  // Start ADC DMA
  HAL_ADC_Start_DMA(&hadc1, (uint32_t*)sample_buffer, SAMPLE_BUFFER_SIZE);

  // Wait for system to stabilize
  osDelay(1000);

  const char *load_names[4] = {"0%", "25%", "50%", "100%"};
  const uint32_t load_factors[4] = {0, 1, 2, 4};

  for (uint32_t load_idx = 0; load_idx < 4; load_idx++) {
      // Set load factor
      current_load_factor = load_factors[load_idx];

      // Reset samples
      latency_reset_samples();
      latency_sampler.load_level = load_idx;

      // Print start message
      char msg[80];
      sprintf(msg, "\r\n=== Load: %s ===\r\n", load_names[load_idx]);
      HAL_UART_Transmit(&huart1, (uint8_t*)msg, strlen(msg), 1000);

      // Wait for 100 samples (10 Hz = 100ms per sample)
      // + buffer time
      osDelay(12000);  // 12 seconds

      // Compute statistics
      LatencyStats stats = latency_compute_stats();

      // Output results
      char result[150];
      sprintf(result, "Avg: %.2f ms, StdDev: %.2f ms, Min: %lu ms, Max: %lu ms, Count: %lu\r\n",
              stats.mean, stats.stddev, stats.min, stats.max, stats.count);
      HAL_UART_Transmit(&huart1, (uint8_t*)result, strlen(result), 1000);
  }

  // Print completion message
  const char *end_msg = "\r\n=== Experiment Complete ===\r\n";
  HAL_UART_Transmit(&huart1, (uint8_t*)end_msg, strlen(end_msg), 1000);

  // Terminate this task
  osThreadExit();

  /* USER CODE END 5 */
}

void HAL_TIM_PeriodElapsedCallback(TIM_HandleTypeDef *htim)
{
  if (htim->Instance == TIM7)
  {
    HAL_IncTick();
  }
}

void Error_Handler(void)
{
  __disable_irq();
  while (1)
  {
  }
}

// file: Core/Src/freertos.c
/* USER CODE BEGIN Header */
/**
  ******************************************************************************
  * File Name          : freertos.c
  * Description        : Code for freertos applications
  ******************************************************************************
  * @attention
  *
  * Copyright (c) 2026 STMicroelectronics.
  * All rights reserved.
  *
  * This software is licensed under terms that can be found in the LICENSE file
  * in the root directory of this software component.
  * If no LICENSE file comes with this software, it is provided AS-IS.
  *
  ******************************************************************************
  */
/* USER CODE END Header */

#include "FreeRTOS.h"
#include "task.h"
#include "main.h"

/* USER CODE BEGIN Includes */
#include "latency.h"
#include <stdio.h>
/* USER CODE END Includes */

/* USER CODE BEGIN Application */

#define LOAD_BASE 10000

void vLoadTask(void *pvParameters) {
    uint32_t load_iterations;
    volatile uint32_t dummy = 0;

    for (;;) {
        load_iterations = LOAD_BASE * current_load_factor;

        for (uint32_t i = 0; i < load_iterations; i++) {
            dummy = i * i;
        }

        osDelay(1);
    }
}

extern osSemaphoreId_t micSemHandle;

void HAL_ADC_ConvHalfCpltCallback(ADC_HandleTypeDef *hadc) {
    if (hadc->Instance == ADC1) {
        uint32_t current_tick = xTaskGetTickCount();
        latency_record_interrupt(current_tick);
        osSemaphoreRelease(micSemHandle);
    }
}

void HAL_ADC_ConvCpltCallback(ADC_HandleTypeDef *hadc) {
    if (hadc->Instance == ADC1) {
        uint32_t current_tick = xTaskGetTickCount();
        latency_record_interrupt(current_tick);
        osSemaphoreRelease(micSemHandle);
    }
}

/* USER CODE END Application */
